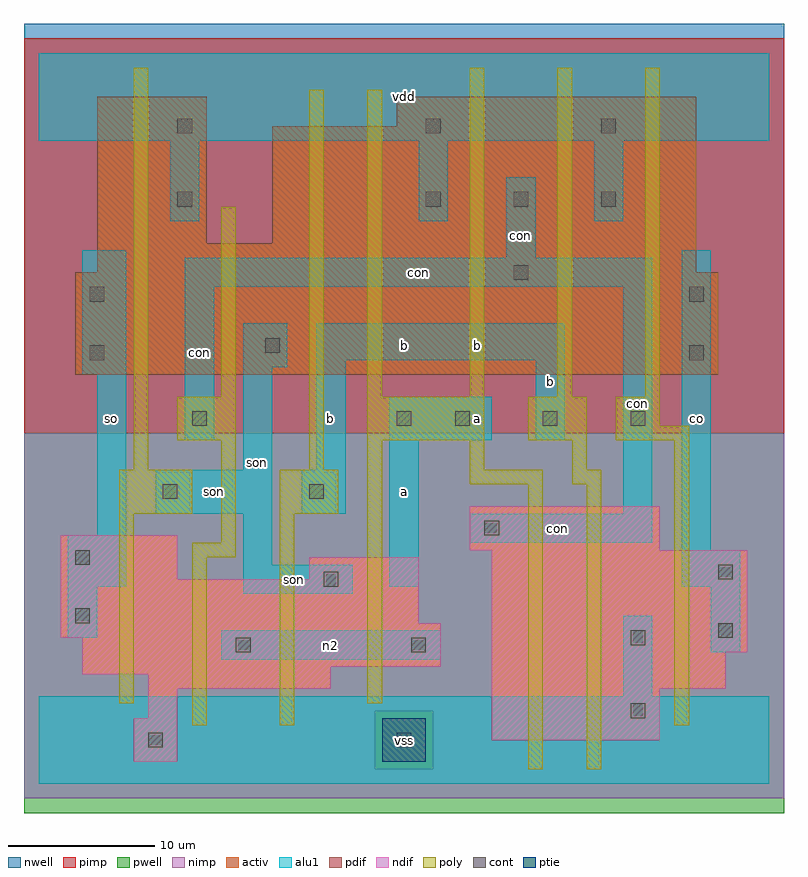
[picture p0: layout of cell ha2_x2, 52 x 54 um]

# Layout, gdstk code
import gdstk
lib = gdstk.Library(unit=1e-6, precision=1e-09)
def R(c, l, rs):  # rectangles x0, y0, x1, y1
    for r in rs: c.add(gdstk.rectangle(r[:2], r[2:], *l))
def A(c, l, x, y, w, h, nx, ny, dx, dy):  # array of equal rectangles
    R(c, l, [(x+i*dx, y+j*dy, x+i*dx+w, y+j*dy+h) for i in range(nx) for j in range(ny)])
ndif = (3, 0)
pdif = (4, 0)
ptie = (6, 0)
cont = (25, 0)
pwell = (41, 0)
nwell = (42, 0)
activ = (43, 0)
pimp = (44, 0)
nimp = (45, 0)
poly = (46, 0)
alu1 = (49, 0)

ha2_x2 = lib.new_cell('ha2_x2')
R(ha2_x2, ndif, [(6.5,1.5,9.5,4.5), (31,3,42.5,6.5), (7.5,4.5,9.5,6.5), (7.5,6.5,20,7.5), (31,6.5,47,9), (3,7.5,20,8), (3,8,27.5,10), (31,9,48.5,16), (1.5,10,27.5,11), (1.5,11,26,14), (1.5,14,9.5,17), (18.5,14,26,15.5), (29.5,16,42.5,19)])
R(ha2_x2, pdif, [(2.5,28,46.5,35), (4,35,45,37), (4,37,11.5,47), (16,37,45,45), (24.5,45,45,47)])
R(ha2_x2, ptie, [(23.5,1.5,26.5,4.5)])
A(ha2_x2, cont, 28.5, 24.5, 1, 1, 3, 1, 6, 0)
A(ha2_x2, cont, 26.5, 39.5, 1, 1, 3, 1, 6, 0)
R(ha2_x2, cont, [(7.5,2.5,8.5,3.5), (24.5,2.5,25.5,3.5), (40.5,4.5,41.5,5.5), (13.5,9,14.5,10), (25.5,9,26.5,10), (40.5,9.5,41.5,10.5), (46.5,10,47.5,11), (2.5,11,3.5,12), (19.5,13.5,20.5,14.5), (46.5,14,47.5,15), (2.5,15,3.5,16), (30.5,17,31.5,18), (8.5,19.5,9.5,20.5), (18.5,19.5,19.5,20.5), (10.5,24.5,11.5,25.5), (24.5,24.5,25.5,25.5), (3.5,29,4.5,30), (44.5,29,45.5,30), (15.5,29.5,16.5,30.5), (3.5,33,4.5,34), (44.5,33,45.5,34), (32.5,34.5,33.5,35.5), (9.5,39.5,10.5,40.5), (9.5,44.5,10.5,45.5), (26.5,44.5,27.5,45.5), (38.5,44.5,39.5,45.5)])
R(ha2_x2, pwell, [(-1,-2,51,24)])
R(ha2_x2, nwell, [(-1,24,51,52)])
R(ha2_x2, activ, [(6.5,1.5,9.5,4.5), (23.5,1.5,26.5,4.5), (31,3,42.5,6.5), (7.5,4.5,9.5,6.5), (7.5,6.5,20,7.5), (31,6.5,47,9), (3,7.5,20,8), (3,8,27.5,10), (31,9,48.5,16), (1.5,10,27.5,11), (1.5,11,26,14), (1.5,14,9.5,17), (18.5,14,26,15.5), (29.5,16,42.5,19), (2.5,28,46.5,35), (4,35,45,37), (4,37,11.5,47), (16,37,45,45), (24.5,45,45,47)])
R(ha2_x2, pimp, [(23,1,27,5), (-1,24,51,51)])
R(ha2_x2, nimp, [(-1,-1,51,1), (-1,1,23,5), (27,1,51,5), (-1,5,51,24)])
A(ha2_x2, poly, 29.5, 26.5, 1, 22.5, 3, 1, 6, 0)
R(ha2_x2, poly, [(33.5,1,34.5,20.5), (37.5,1,38.5,20.5), (10.5,4,11.5,15.5), (16.5,4,17.5,18.5), (43.5,4,44.5,23.5), (5.5,5.5,6.5,18.5), (22.5,5.5,23.5,23.5), (10.5,15.5,13.5,16.5), (12.5,16.5,13.5,23.5), (5.5,18.5,10.5,21.5), (16.5,18.5,20.5,21.5), (29.5,20.5,34.5,21.5), (36.5,20.5,38.5,21.5), (6.5,21.5,7.5,49), (18.5,21.5,19.5,47.5), (29.5,21.5,30.5,23.5), (36.5,21.5,37.5,23.5), (9.5,23.5,13.5,26.5), (22.5,23.5,30.5,26.5), (33.5,23.5,37.5,26.5), (39.5,23.5,44.5,24.5), (39.5,24.5,42.5,26.5), (12.5,26.5,13.5,39.5), (22.5,26.5,23.5,47.5)])
R(ha2_x2, alu1, [(0,0,50,6), (40,6,42,11.5), (12.5,8.5,27.5,10.5), (46,9,48,13.5), (2,10,4,13.5), (14,13,21.5,15), (2,13.5,6,17), (24,13.5,26,23.5), (44,13.5,48,16), (14,15,16,18.5), (44,16,46,36.5), (29.5,16.5,42,18.5), (4,17,6,28), (8,18.5,16,21.5), (18,18.5,21,21.5), (40,18.5,42,34), (14,21.5,16,28.5), (19,21.5,21,29), (10,23.5,12,34), (24,23.5,31,26.5), (34,23.5,36,29), (3,28,6,36.5), (14,28.5,17,31.5), (19,29,36,31.5), (10,34,42,36), (32,36,34,41.5), (9,38.5,11,44), (26,38.5,28,44), (38,38.5,40,44), (0,44,50,50)])
ha2_x2.add(gdstk.Label('so', (5,25), layer=49, texttype=0))
ha2_x2.add(gdstk.Label('son', (12,20), layer=49, texttype=0))
ha2_x2.add(gdstk.Label('con', (11,29.5), layer=49, texttype=0))
ha2_x2.add(gdstk.Label('son', (15,22), layer=49, texttype=0))
ha2_x2.add(gdstk.Label('vss', (25,3), layer=49, texttype=0))
ha2_x2.add(gdstk.Label('n2', (20,9.5), layer=49, texttype=0))
ha2_x2.add(gdstk.Label('son', (17.5,14), layer=49, texttype=0))
ha2_x2.add(gdstk.Label('a', (25,20), layer=49, texttype=0))
ha2_x2.add(gdstk.Label('b', (20,25), layer=49, texttype=0))
ha2_x2.add(gdstk.Label('b', (25,30), layer=49, texttype=0))
ha2_x2.add(gdstk.Label('vdd', (25,47), layer=49, texttype=0))
ha2_x2.add(gdstk.Label('a', (30,25), layer=49, texttype=0))
ha2_x2.add(gdstk.Label('b', (35,27.5), layer=49, texttype=0))
ha2_x2.add(gdstk.Label('b', (30,30), layer=49, texttype=0))
ha2_x2.add(gdstk.Label('con', (33,37.5), layer=49, texttype=0))
ha2_x2.add(gdstk.Label('con', (35.5,17.5), layer=49, texttype=0))
ha2_x2.add(gdstk.Label('co', (45,25), layer=49, texttype=0))
ha2_x2.add(gdstk.Label('con', (41,26), layer=49, texttype=0))
ha2_x2.add(gdstk.Label('con', (26,35), layer=49, texttype=0))

lib.write_gds('ha2_x2.gds')
